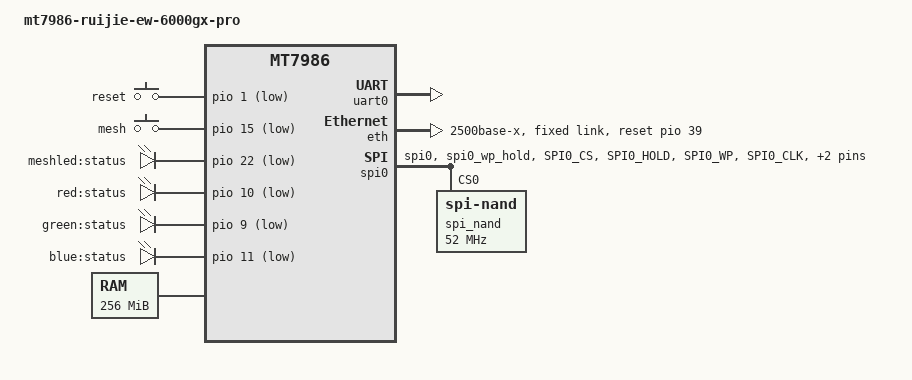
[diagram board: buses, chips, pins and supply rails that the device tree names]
// SPDX-License-Identifier: GPL-2.0

/dts-v1/;
#include "mt7981.dtsi"
#include <dt-bindings/gpio/gpio.h>

/ {
	#address-cells = <1>;
	#size-cells = <1>;
	model = "mt7986-ruijie-ew-6000gx-pro";
	compatible = "mediatek,mt7986", "mediatek,mt7986-rfb";

	chosen {
		stdout-path = &uart0;
		tick-timer = &timer0;
	};

	config {
		bootcmd = "mtkboardboot";
		blink_led = "red:status";
		system_led = "green:status";
	};

	mtd-layout {
		layout@0 {
			label = "default";
			cmdline = "console=ttyS0,115200n8 earlycon=uart8250,mmio32,0x11002000";
			mtdids = "spi-nand0=spi-nand0";
			mtdparts = "spi-nand0:1024k(bl2),512k(u-boot-env),2048k(Factory),2048k(fip),512k(product_info),512k(kdump),64512k(ubi)";
		};

		layout@1 {
			label = "ubi-107m";
			mtdids = "spi-nand0=spi-nand0";
			mtdparts = "spi-nand0:1024k(bl2),512k(u-boot-env),2048k(Factory),2048k(fip),512k(product_info),512k(kdump),109568k(ubi)";
		};
	};

	gpio-keys {
		compatible = "gpio-keys";

		reset-button {
			label = "reset";
			linux,code = <KEY_RESTART>;
			gpios = <&pio 1 GPIO_ACTIVE_LOW>;
		};

		mesh-button {
			label = "mesh";
			linux,code = <BTN_9>;
			gpios = <&pio 15 GPIO_ACTIVE_LOW>;
		};
	};

	leds {
		compatible = "gpio-leds";

		led-0 {
			label = "meshled:status";
			gpios = <&pio 22 GPIO_ACTIVE_LOW>;
			default-state = "off";
		};

		led-1 {
			label = "red:status";
			gpios = <&pio 10 GPIO_ACTIVE_LOW>;
			default-state = "off";
		};

		led-2 {
			label = "green:status";
			gpios = <&pio 9 GPIO_ACTIVE_LOW>;
			default-state = "off";
		};

		led-3 {
			label = "blue:status";
			gpios = <&pio 11 GPIO_ACTIVE_LOW>;
			default-state = "off";
		};
	};

	memory@40000000 {
		device_type = "memory";
		reg = <0x40000000 0x10000000>;
	};

	bl2_verify {
		bl2_compatible = "spim-nand";
	};
};

&uart0 {
	status = "okay";
};

&eth {
	status = "okay";
	mediatek,gmac-id = <0>;
	phy-mode = "2500base-x";
	mediatek,switch = "auto";
	reset-gpios = <&pio 39 GPIO_ACTIVE_HIGH>;

	fixed-link {
		speed = <2500>;
		full-duplex;
	};
};

&pio {
	spi_flash_pins: spi0-pins-func-1 {
		mux {
			function = "flash";
			groups = "spi0", "spi0_wp_hold";
		};

		conf-pu {
			pins = "SPI0_CS", "SPI0_HOLD", "SPI0_WP";
			drive-strength = <MTK_DRIVE_4mA>;
			bias-pull-up = <MTK_PUPD_SET_R1R0_11>;
		};

		conf-pd {
			pins = "SPI0_CLK", "SPI0_MOSI", "SPI0_MISO";
			drive-strength = <MTK_DRIVE_4mA>;
			bias-pull-down = <MTK_PUPD_SET_R1R0_11>;
		};
	};
};

&spi0 {
	#address-cells = <1>;
	#size-cells = <0>;
	pinctrl-names = "default";
	pinctrl-0 = <&spi_flash_pins>;
	status = "okay";
	must_tx;
	enhance_timing;
	dma_ext;
	ipm_design;
	support_quad;
	tick_dly = <2>;
	sample_sel = <0>;

	spi_nand@0 {
		compatible = "spi-nand";
		reg = <0>;
		spi-max-frequency = <52000000>;
	};
};

&uart0 {
	status = "okay";
};

&watchdog {
	status = "disabled";
};
